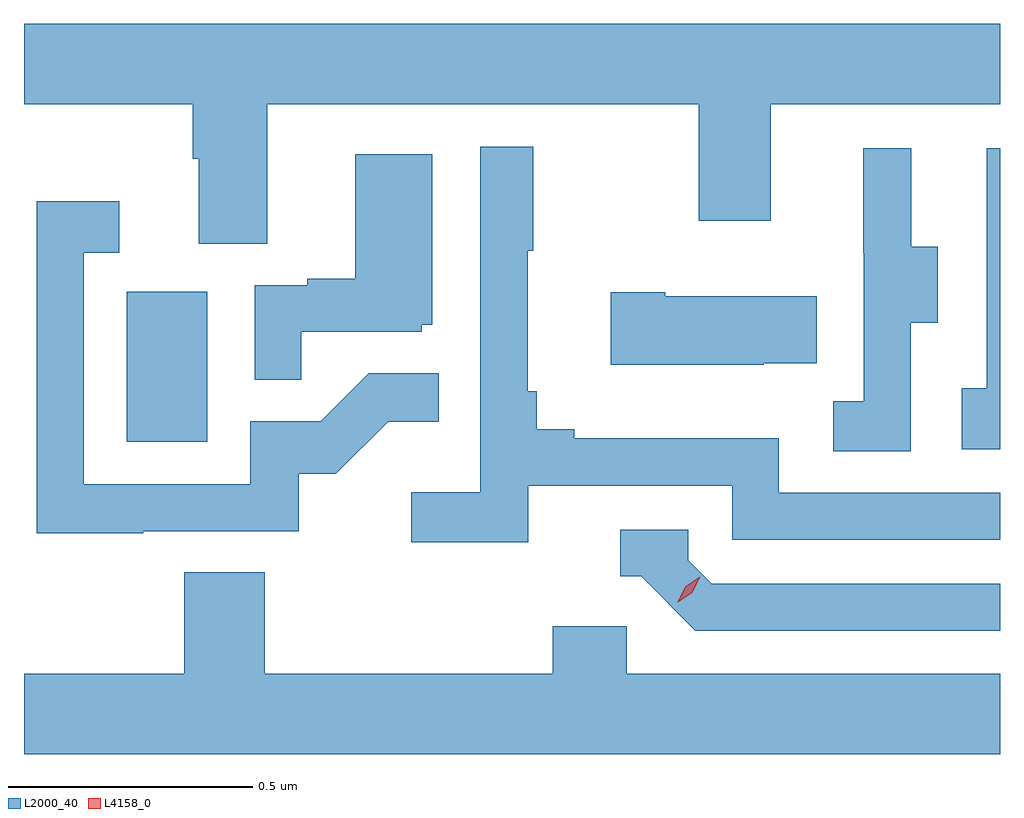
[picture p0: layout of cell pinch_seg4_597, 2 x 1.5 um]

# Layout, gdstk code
import gdstk
lib = gdstk.Library(unit=1e-6, precision=1e-09)
def R(c, l, rs):  # rectangles x0, y0, x1, y1
    for r in rs: c.add(gdstk.rectangle(r[:2], r[2:], *l))
def P(c, l, *ps):  # polygons
    for p in ps: c.add(gdstk.Polygon(p, *l))
L2000_40 = (2000, 40)
L4158_0 = (4158, 0)

pinch_seg4_597 = lib.new_cell('pinch_seg4_597')
R(pinch_seg4_597, L2000_40, [(1021.574,786.804,1021.738,787.111)])
P(pinch_seg4_597, L2000_40, [(1021.861,787.496),(1022.746,787.496),(1022.746,787.257),(1022.893,787.257),(1022.893,787.496),(1023.363,787.496),(1023.363,787.66),(1021.363,787.66),(1021.363,787.496),(1021.709,787.496),(1021.709,787.384),(1021.721,787.384),(1021.721,787.21),(1021.861,787.21)],
  [(1022.396,786.714),(1022.814,786.714),(1022.814,786.603),(1023.363,786.603),(1023.363,786.699),(1022.91,786.699),(1022.91,786.811),(1022.491,786.811),(1022.491,786.83),(1022.414,786.83),(1022.414,786.907),(1022.395,786.907),(1022.395,787.195),(1022.407,787.195),(1022.407,787.408),(1022.298,787.408),(1022.298,786.7),(1022.157,786.7),(1022.157,786.598),(1022.396,786.598)],
  [(1023.363,787.405),(1023.336,787.405),(1023.336,786.914),(1023.285,786.914),(1023.285,786.789),(1023.363,786.789)],
  [(1023.18,787.048),(1023.235,787.048),(1023.235,787.203),(1023.181,787.203),(1023.181,787.405),(1023.083,787.405),(1023.083,787.191),(1023.084,787.191),(1023.084,786.887),(1023.021,786.887),(1023.021,786.784),(1023.18,786.784)],
  [(1021.931,787.029),(1022.178,787.029),(1022.178,787.044),(1022.2,787.044),(1022.2,787.393),(1022.042,787.393),(1022.042,787.138),(1021.943,787.138),(1021.943,787.125),(1021.836,787.125),(1021.836,786.931),(1021.931,786.931)],
  [(1021.607,786.621),(1021.926,786.621),(1021.926,786.738),(1022.002,786.738),(1022.109,786.845),(1022.213,786.845),(1022.213,786.944),(1022.069,786.944),(1021.971,786.846),(1021.827,786.846),(1021.827,786.717),(1021.485,786.717),(1021.485,787.191),(1021.558,787.191),(1021.558,787.297),(1021.389,787.297),(1021.389,786.616),(1021.607,786.616)],
  [(1022.879,786.965),(1022.987,786.965),(1022.987,787.102),(1022.677,787.102),(1022.677,787.11),(1022.565,787.11),(1022.565,786.962),(1022.879,786.962)],
  [(1023.363,786.513),(1022.772,786.513),(1022.724,786.561),(1022.724,786.624),(1022.585,786.624),(1022.585,786.528),(1022.628,786.528),(1022.739,786.417),(1023.363,786.417)],
  [(1023.363,786.328),(1022.598,786.328),(1022.598,786.426),(1022.447,786.426),(1022.447,786.328),(1021.856,786.328),(1021.856,786.536),(1021.691,786.536),(1021.691,786.328),(1021.363,786.328),(1021.363,786.164),(1023.363,786.164)])
P(pinch_seg4_597, L4158_0, [(1022.702,786.474),(1022.702,786.474),(1022.718,786.507),(1022.748,786.527),(1022.748,786.527),(1022.748,786.526),(1022.732,786.494),(1022.702,786.474)])

lib.write_gds('pinch_seg4_597.gds')
